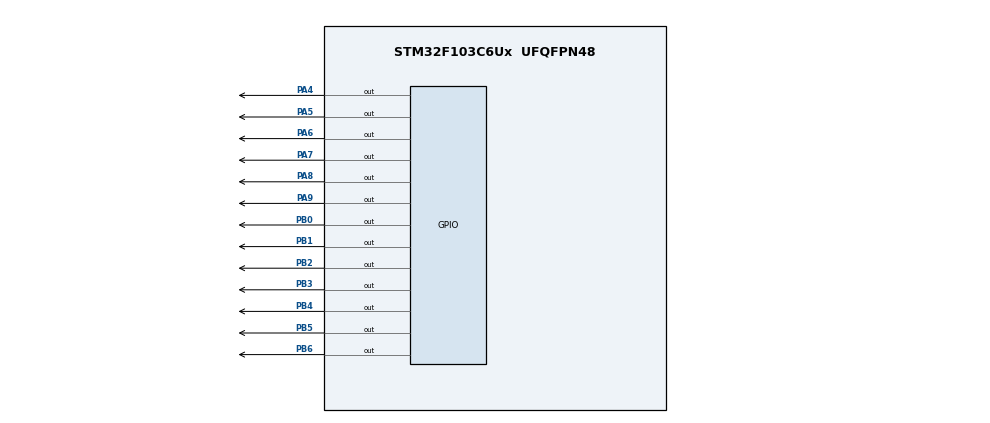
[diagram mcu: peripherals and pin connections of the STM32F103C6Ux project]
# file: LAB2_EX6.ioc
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Mcu.Family=STM32F1
Mcu.Name=STM32F103C6Ux
Mcu.Package=UFQFPN48
NVIC.PriorityGroup=NVIC_PRIORITYGROUP_4
NVIC.TIM2_IRQn=true\:0\:0\:false\:false\:true\:true\:true
PA4.Signal=GPIO_Output
PA5.Signal=GPIO_Output
PA6.Signal=GPIO_Output
PA7.Signal=GPIO_Output
PA8.Signal=GPIO_Output
PA9.Signal=GPIO_Output
PB0.Signal=GPIO_Output
PB1.Signal=GPIO_Output
PB2.Signal=GPIO_Output
PB3.Signal=GPIO_Output
PB4.Signal=GPIO_Output
PB5.Signal=GPIO_Output
PB6.Signal=GPIO_Output
ProjectManager.HeapSize=0x200
ProjectManager.StackSize=0x400
ProjectManager.TargetToolchain=STM32CubeIDE
RCC.APB1Freq_Value=8000000
RCC.APB2Freq_Value=8000000
TIM2.Period=9
TIM2.Prescaler=7999
VP_SYS_VS_ND.Mode=No_Debug
VP_TIM2_VS_ClockSourceINT.Mode=Internal
board=custom

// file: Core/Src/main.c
/* USER CODE BEGIN Header */
/**
  ******************************************************************************
  * @file           : main.c
  * @brief          : LAB 2 - EX6 - Digital Clock + Software Timer
  ******************************************************************************
  */
/* USER CODE END Header */

#include "main.h"

TIM_HandleTypeDef htim2;

/* USER CODE BEGIN PV */

volatile int hour   = 15;
volatile int minute = 8;
volatile int second = 50;

volatile int led_buffer[4] = {1, 5, 0, 8};

volatile int timer0_counter = 0;
volatile int timer0_flag = 0;

int TIMER_CYCLE = 10;

const uint8_t seg7_code[10] =
{
    0xC0,   // 0
    0xF9,   // 1
    0xA4,   // 2
    0xB0,   // 3
    0x99,   // 4
    0x92,   // 5
    0x82,   // 6
    0xF8,   // 7
    0x80,   // 8
    0x90    // 9
};

/* USER CODE END PV */

void SystemClock_Config(void);
static void MX_GPIO_Init(void);
static void MX_TIM2_Init(void);

/* USER CODE BEGIN PFP */

void display7SEG(int num);
void clearLed(void);
void update7SEG(int index);
void updateClockBuffer(void);

void setTimer0(int duration);
void timer_run(void);

/* USER CODE END PFP */

/* USER CODE BEGIN 0 */

void setTimer0(int duration)
{
    timer0_counter = duration / TIMER_CYCLE;
    timer0_flag = 0;
}

void timer_run(void)
{
    if (timer0_counter > 0)
    {
        timer0_counter--;

        if (timer0_counter == 0)
        {
            timer0_flag = 1;
        }
    }
}

void display7SEG(int num)
{
    uint8_t data;

    if (num < 0 || num > 9)
    {
        return;
    }

    data = seg7_code[num];

    HAL_GPIO_WritePin(GPIOB, GPIO_PIN_0,
                      (data & 0x01) ? GPIO_PIN_SET : GPIO_PIN_RESET);

    HAL_GPIO_WritePin(GPIOB, GPIO_PIN_1,
                      (data & 0x02) ? GPIO_PIN_SET : GPIO_PIN_RESET);

    HAL_GPIO_WritePin(GPIOB, GPIO_PIN_2,
                      (data & 0x04) ? GPIO_PIN_SET : GPIO_PIN_RESET);

    HAL_GPIO_WritePin(GPIOB, GPIO_PIN_3,
                      (data & 0x08) ? GPIO_PIN_SET : GPIO_PIN_RESET);

    HAL_GPIO_WritePin(GPIOB, GPIO_PIN_4,
                      (data & 0x10) ? GPIO_PIN_SET : GPIO_PIN_RESET);

    HAL_GPIO_WritePin(GPIOB, GPIO_PIN_5,
                      (data & 0x20) ? GPIO_PIN_SET : GPIO_PIN_RESET);

    HAL_GPIO_WritePin(GPIOB, GPIO_PIN_6,
                      (data & 0x40) ? GPIO_PIN_SET : GPIO_PIN_RESET);
}

void clearLed(void)
{
    HAL_GPIO_WritePin(GPIOA,
                      GPIO_PIN_6 |
                      GPIO_PIN_7 |
                      GPIO_PIN_8 |
                      GPIO_PIN_9,
                      GPIO_PIN_SET);
}

void update7SEG(int index)
{
    if (index < 0 || index >= 4)
    {
        return;
    }

    clearLed();

    display7SEG(led_buffer[index]);

    switch(index)
    {
        case 0:
            /* LED1 */
            HAL_GPIO_WritePin(GPIOA,
                              GPIO_PIN_6,
                              GPIO_PIN_RESET);
            break;

        case 1:
            /* LED2 */
            HAL_GPIO_WritePin(GPIOA,
                              GPIO_PIN_7,
                              GPIO_PIN_RESET);
            break;

        case 2:
            /* LED3 */
            HAL_GPIO_WritePin(GPIOA,
                              GPIO_PIN_8,
                              GPIO_PIN_RESET);
            break;

        case 3:
            /* LED4 */
            HAL_GPIO_WritePin(GPIOA,
                              GPIO_PIN_9,
                              GPIO_PIN_RESET);
            break;

        default:
            break;
    }
}

void updateClockBuffer(void)
{
    led_buffer[0] = hour / 10;
    led_buffer[1] = hour % 10;
    led_buffer[2] = minute / 10;
    led_buffer[3] = minute % 10;
}

/* USER CODE END 0 */

int main(void)
{
    /* MCU Configuration--------------------------------------------------------*/

    HAL_Init();

    /* Configure the system clock */
    SystemClock_Config();

    /* Initialize all configured peripherals */
    MX_GPIO_Init();
    MX_TIM2_Init();

    /* USER CODE BEGIN 2 */

    updateClockBuffer();

    setTimer0(1000);

    HAL_TIM_Base_Start_IT(&htim2);

    /* USER CODE END 2 */

    /* Infinite loop */
    while (1)
    {

        if (timer0_flag == 1)
        {
            timer0_flag = 0;

            second++;

            if (second >= 60)
            {
                second = 0;
                minute++;
            }

            if (minute >= 60)
            {
                minute = 0;
                hour++;
            }

            if (hour >= 24)
            {
                hour = 0;
            }

            updateClockBuffer();

            setTimer0(1000);
        }
    }
}

void SystemClock_Config(void)
{
    RCC_OscInitTypeDef RCC_OscInitStruct = {0};
    RCC_ClkInitTypeDef RCC_ClkInitStruct = {0};

    /* HSI = 8 MHz */
    RCC_OscInitStruct.OscillatorType = RCC_OSCILLATORTYPE_HSI;
    RCC_OscInitStruct.HSIState = RCC_HSI_ON;
    RCC_OscInitStruct.HSICalibrationValue =
        RCC_HSICALIBRATION_DEFAULT;
    RCC_OscInitStruct.PLL.PLLState = RCC_PLL_NONE;

    if (HAL_RCC_OscConfig(&RCC_OscInitStruct) != HAL_OK)
    {
        Error_Handler();
    }

    RCC_ClkInitStruct.ClockType =
        RCC_CLOCKTYPE_HCLK |
        RCC_CLOCKTYPE_SYSCLK |
        RCC_CLOCKTYPE_PCLK1 |
        RCC_CLOCKTYPE_PCLK2;

    RCC_ClkInitStruct.SYSCLKSource =
        RCC_SYSCLKSOURCE_HSI;

    RCC_ClkInitStruct.AHBCLKDivider =
        RCC_SYSCLK_DIV1;

    RCC_ClkInitStruct.APB1CLKDivider =
        RCC_HCLK_DIV1;

    RCC_ClkInitStruct.APB2CLKDivider =
        RCC_HCLK_DIV1;

    if (HAL_RCC_ClockConfig(&RCC_ClkInitStruct,
                            FLASH_LATENCY_0) != HAL_OK)
    {
        Error_Handler();
    }
}

static void MX_TIM2_Init(void)
{
    TIM_ClockConfigTypeDef sClockSourceConfig = {0};
    TIM_MasterConfigTypeDef sMasterConfig = {0};

    htim2.Instance = TIM2;

    /* =====================================================
     * HSI = 8 MHz
     *
     * 8 MHz / (7999 + 1) = 1000 Hz
     *
     * 1000 Hz / (9 + 1) = 100 Hz
     *
     * => 10 ms / interrupt
     * ===================================================== */
    htim2.Init.Prescaler = 7999;

    htim2.Init.CounterMode =
        TIM_COUNTERMODE_UP;

    htim2.Init.Period = 9;

    htim2.Init.ClockDivision =
        TIM_CLOCKDIVISION_DIV1;

    htim2.Init.AutoReloadPreload =
        TIM_AUTORELOAD_PRELOAD_DISABLE;

    if (HAL_TIM_Base_Init(&htim2) != HAL_OK)
    {
        Error_Handler();
    }

    sClockSourceConfig.ClockSource =
        TIM_CLOCKSOURCE_INTERNAL;

    if (HAL_TIM_ConfigClockSource(&htim2,
                                  &sClockSourceConfig) != HAL_OK)
    {
        Error_Handler();
    }

    sMasterConfig.MasterOutputTrigger =
        TIM_TRGO_RESET;

    sMasterConfig.MasterSlaveMode =
        TIM_MASTERSLAVEMODE_DISABLE;

    if (HAL_TIMEx_MasterConfigSynchronization(
            &htim2,
            &sMasterConfig) != HAL_OK)
    {
        Error_Handler();
    }
}

static void MX_GPIO_Init(void)
{
    GPIO_InitTypeDef GPIO_InitStruct = {0};

    /* Enable GPIO clocks */
    __HAL_RCC_GPIOA_CLK_ENABLE();
    __HAL_RCC_GPIOB_CLK_ENABLE();

    /* =====================================================
     * GPIOA
     *
     * PA4 -> DOT
     * PA5 -> LED RED
     * PA6 -> LED1
     * PA7 -> LED2
     * PA8 -> LED3
     * PA9 -> LED4
     * ===================================================== */
    HAL_GPIO_WritePin(GPIOA,
                      GPIO_PIN_4 |
                      GPIO_PIN_5 |
                      GPIO_PIN_6 |
                      GPIO_PIN_7 |
                      GPIO_PIN_8 |
                      GPIO_PIN_9,
                      GPIO_PIN_SET);

    /* =====================================================
     * GPIOB
     *
     * PB0 -> SEG0
     * PB1 -> SEG1
     * PB2 -> SEG2
     * PB3 -> SEG3
     * PB4 -> SEG4
     * PB5 -> SEG5
     * PB6 -> SEG6
     * ===================================================== */
    HAL_GPIO_WritePin(GPIOB,
                      GPIO_PIN_0 |
                      GPIO_PIN_1 |
                      GPIO_PIN_2 |
                      GPIO_PIN_3 |
                      GPIO_PIN_4 |
                      GPIO_PIN_5 |
                      GPIO_PIN_6,
                      GPIO_PIN_SET);

    /* =====================================================
     * PA4 -> PA9 OUTPUT
     * ===================================================== */
    GPIO_InitStruct.Pin =
        GPIO_PIN_4 |
        GPIO_PIN_5 |
        GPIO_PIN_6 |
        GPIO_PIN_7 |
        GPIO_PIN_8 |
        GPIO_PIN_9;

    GPIO_InitStruct.Mode =
        GPIO_MODE_OUTPUT_PP;

    GPIO_InitStruct.Pull =
        GPIO_NOPULL;

    GPIO_InitStruct.Speed =
        GPIO_SPEED_FREQ_LOW;

    HAL_GPIO_Init(GPIOA, &GPIO_InitStruct);

    /* =====================================================
     * PB0 -> PB6 OUTPUT
     * ===================================================== */
    GPIO_InitStruct.Pin =
        GPIO_PIN_0 |
        GPIO_PIN_1 |
        GPIO_PIN_2 |
        GPIO_PIN_3 |
        GPIO_PIN_4 |
        GPIO_PIN_5 |
        GPIO_PIN_6;

    GPIO_InitStruct.Mode =
        GPIO_MODE_OUTPUT_PP;

    GPIO_InitStruct.Pull =
        GPIO_NOPULL;

    GPIO_InitStruct.Speed =
        GPIO_SPEED_FREQ_LOW;

    HAL_GPIO_Init(GPIOB, &GPIO_InitStruct);
}

/* USER CODE BEGIN 4 */

{
    static int index_led = 0;

    if (htim->Instance == TIM2)
    {

        timer_run();

        update7SEG(index_led);

        index_led++;

        if (index_led >= 4)
        {
            index_led = 0;
        }
    }
}

/* USER CODE END 4 */

void Error_Handler(void)
{
    __disable_irq();

    while (1)
    {
    }
}

/************************ (C) COPYRIGHT STMicroelectronics *****END OF FILE****/
